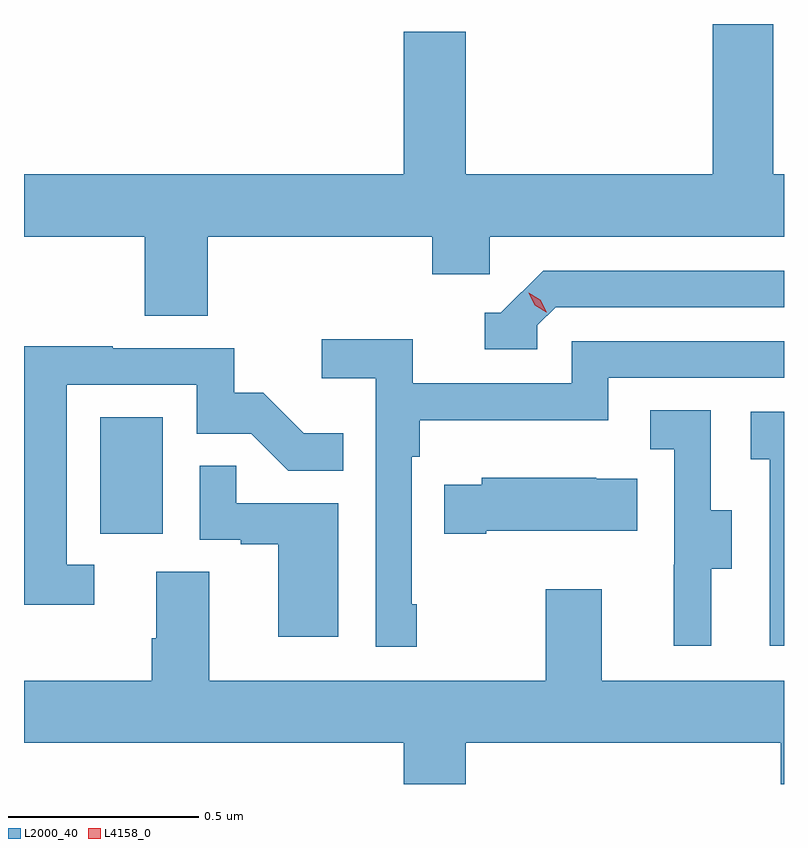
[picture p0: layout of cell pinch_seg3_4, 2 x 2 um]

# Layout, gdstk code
import gdstk
lib = gdstk.Library(unit=1e-6, precision=1e-09)
def R(c, l, rs):  # rectangles x0, y0, x1, y1
    for r in rs: c.add(gdstk.rectangle(r[:2], r[2:], *l))
def P(c, l, *ps):  # polygons
    for p in ps: c.add(gdstk.Polygon(p, *l))
L2000_40 = (2000, 40)
L4158_0 = (4158, 0)

pinch_seg3_4 = lib.new_cell('pinch_seg3_4')
R(pinch_seg3_4, L2000_40, [(1141.232,734.766,1141.396,735.073)])
P(pinch_seg3_4, L2000_40, [(1141.514,735.548),(1142.105,735.548),(1142.105,735.45),(1142.256,735.45),(1142.256,735.548),(1143.031,735.548),(1143.031,735.712),(1143.003,735.712),(1143.003,736.108),(1142.843,736.108),(1142.843,735.712),(1142.194,735.712),(1142.194,736.087),(1142.03,736.087),(1142.03,735.712),(1141.031,735.712),(1141.031,735.548),(1141.349,735.548),(1141.349,735.34),(1141.514,735.34)],
  [(1142.382,735.315),(1142.43,735.363),(1143.031,735.363),(1143.031,735.459),(1142.397,735.459),(1142.286,735.348),(1142.243,735.348),(1142.243,735.252),(1142.382,735.252)],
  [(1142.065,734.581),(1142.052,734.581),(1142.052,734.969),(1142.072,734.969),(1142.072,735.065),(1142.568,735.065),(1142.568,735.177),(1143.031,735.177),(1143.031,735.273),(1142.472,735.273),(1142.472,735.162),(1142.054,735.162),(1142.054,735.278),(1141.815,735.278),(1141.815,735.176),(1141.956,735.176),(1141.956,734.469),(1142.065,734.469)],
  [(1141.216,734.685),(1141.143,734.685),(1141.143,735.159),(1141.485,735.159),(1141.485,735.03),(1141.629,735.03),(1141.727,734.932),(1141.871,734.932),(1141.871,735.031),(1141.767,735.031),(1141.66,735.138),(1141.584,735.138),(1141.584,735.255),(1141.265,735.255),(1141.265,735.26),(1141.031,735.26),(1141.031,734.58),(1141.216,734.58)],
  [(1142.839,734.674),(1142.893,734.674),(1142.893,734.829),(1142.838,734.829),(1142.838,735.092),(1142.679,735.092),(1142.679,734.989),(1142.742,734.989),(1142.742,734.685),(1142.741,734.685),(1142.741,734.472),(1142.839,734.472)],
  [(1143.031,735.087),(1142.943,735.087),(1142.943,734.963),(1142.994,734.963),(1142.994,734.472),(1143.031,734.472)],
  [(1141.858,734.847),(1141.589,734.847),(1141.589,734.945),(1141.494,734.945),(1141.494,734.751),(1141.601,734.751),(1141.601,734.739),(1141.7,734.739),(1141.7,734.496),(1141.858,734.496)],
  [(1142.248,734.774),(1142.645,734.774),(1142.645,734.911),(1142.537,734.911),(1142.537,734.914),(1142.235,734.914),(1142.235,734.896),(1142.137,734.896),(1142.137,734.767),(1142.248,734.767)],
  [(1142.194,734.216),(1143.023,734.216),(1143.023,734.108),(1143.031,734.108),(1143.031,734.38),(1142.551,734.38),(1142.551,734.62),(1142.404,734.62),(1142.404,734.38),(1141.519,734.38),(1141.519,734.666),(1141.379,734.666),(1141.379,734.492),(1141.367,734.492),(1141.367,734.38),(1141.031,734.38),(1141.031,734.216),(1142.03,734.216),(1142.03,734.108),(1142.194,734.108)])
P(pinch_seg3_4, L4158_0, [(1142.405,735.349),(1142.375,735.368),(1142.359,735.401),(1142.359,735.401),(1142.359,735.401),(1142.39,735.382),(1142.406,735.349),(1142.406,735.349)])

lib.write_gds('pinch_seg3_4.gds')
